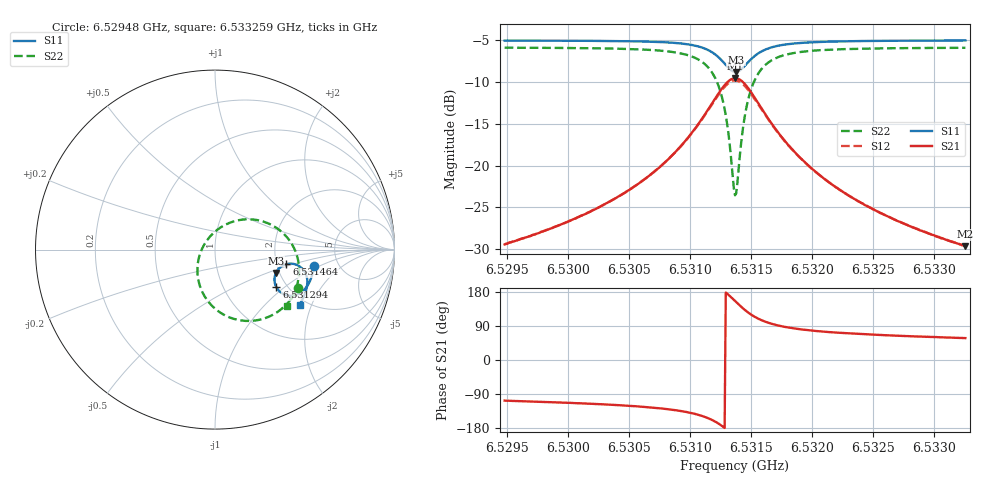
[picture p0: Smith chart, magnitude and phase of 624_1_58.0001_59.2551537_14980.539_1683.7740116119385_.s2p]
#  HZ  S  RI  R  50.00
! Rohde & Schwarz Vector Network Analyzer
! Rohde-Schwarz,ZNB20-2Port,1311601062101988,3.16
! Created: UTC 3/21/2024, 1:18:15 AM
! freq[Hz]  re:S11  im:S11  re:S21  im:S21  re:S12  im:S12  re:S22  im:S22
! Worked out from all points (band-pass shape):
!   401 points, 6.52948 GHz to 6.533259 GHz, reference 50 ohm
!   highest |S21| = -9.53 dB at 6.53137 GHz (marker M1); lowest = -29.7 dB at 6.533259 GHz (marker M2)
!   |S21| within 3 dB of the highest: 6.531182 GHz to 6.53156 GHz (377.5 kHz wide, 0.00578 % of centre)
!   lowest |S11| = -8.8 dB at 6.531379 GHz (marker M3), VSWR 2.14, Z = 95.7 - j28.8 ohm
!   |S11| at or under -10 dB: nowhere
!   |S22| runs from -23.6 to -5.9 dB; largest |S21 - S12| = 0.014
!   S11 on the Smith chart (normalised r, x): 6.52948 GHz: 3.29, -0.89; 6.531294 GHz: 1.76, -0.88; 6.531464 GHz: 2.27, -0.44; 6.533259 GHz: 1.83, -1.64
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6.5294801e9  0.5528 -0.0926  -0.0099 -0.0322  -0.0107 -0.032  0.4625 -0.2112
6.5301131e9  0.5398 -0.1461  -0.0207 -0.0456  -0.0219 -0.0452  0.427 -0.2705
6.5304627e9  0.527 -0.1793  -0.0343 -0.0592  -0.036 -0.0584  0.3912 -0.3122
6.5307461e9  0.5082 -0.2111  -0.0587 -0.0771  -0.061 -0.0756  0.3363 -0.3551
6.5309729e9  0.4766 -0.241  -0.1055 -0.0972  -0.1085 -0.0933  0.2427 -0.392
6.5311335e9  0.4269 -0.2572  -0.1828 -0.0992  -0.1846 -0.0911  0.1025 -0.3853
6.531228e9  0.3773 -0.2457  -0.2588 -0.062  -0.2562 -0.051  -0.0215 -0.3082
6.5312941e9  0.3419 -0.2097  -0.3088 0.01  -0.3004 0.0204  -0.091 -0.1777
6.5313224e9  0.3332 -0.1854  -0.3185 0.055  -0.3075 0.0631  -0.0978 -0.1023
6.5313508e9  0.3318 -0.1579  -0.3151 0.1039  -0.3026 0.1092  -0.0833 -0.0229
6.5313697e9  0.3358 -0.1394  -0.3048 0.1363  -0.2918 0.1392  -0.0603 0.0277
6.5313791e9  0.3392 -0.1304  -0.2971 0.1515  -0.2845 0.1532  -0.045 0.051
6.5313886e9  0.3436 -0.1219  -0.2881 0.1658  -0.2757 0.1665  -0.0277 0.0728
6.5314358e9  0.3755 -0.0902  -0.2278 0.2191  -0.2183 0.2156  0.0804 0.1489
6.5314642e9  0.3983 -0.0808  -0.1871 0.2343  -0.1797 0.2299  0.1501 0.1668
6.5315303e9  0.4456 -0.0815  -0.1047 0.2331  -0.1013 0.2293  0.2871 0.1498
6.5316248e9  0.4863 -0.1061  -0.0358 0.1965  -0.0341 0.1944  0.3981 0.0723
6.5317665e9  0.5093 -0.1445  0.00469 0.1438  0.00581 0.143  0.4563 -0.0324
6.5320027e9  0.5144 -0.1892  0.0207 0.0931  0.0217 0.0928  0.4681 -0.1363
6.532305e9  0.5075 -0.2273  0.0224 0.062  0.0232 0.0618  0.4547 -0.2072
6.5326357e9  0.4959 -0.2588  0.0207 0.0444  0.0216 0.0441  0.4357 -0.2545
6.5332592e9  0.471 -0.3067  0.0175 0.0278  0.0181 0.0276  0.4004 -0.3124
